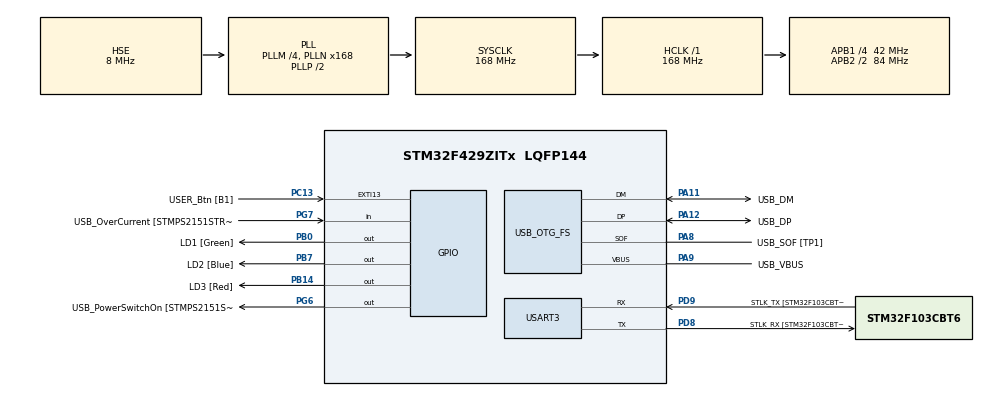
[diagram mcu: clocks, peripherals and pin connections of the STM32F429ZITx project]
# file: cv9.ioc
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Mcu.Family=STM32F4
Mcu.Name=STM32F429ZITx
Mcu.Package=LQFP144
NVIC.OTG_FS_IRQn=true\:0\:0\:false\:false\:true\:false\:true\:true
NVIC.PriorityGroup=NVIC_PRIORITYGROUP_4
PA1.GPIO_Label=RMII_REF_CLK [LAN8742A-CZ-TR_REFCLK0]
PA1.Signal=ETH_REF_CLK
PA10.GPIO_Label=USB_ID
PA10.Signal=USB_OTG_FS_ID
PA11.GPIO_Label=USB_DM
PA11.Mode=Device_Only
PA11.Signal=USB_OTG_FS_DM
PA12.GPIO_Label=USB_DP
PA12.Mode=Device_Only
PA12.Signal=USB_OTG_FS_DP
PA13.GPIO_Label=TMS
PA13.Mode=Serial_Wire
PA13.Signal=SYS_JTMS-SWDIO
PA14.GPIO_Label=TCK
PA14.Mode=Serial_Wire
PA14.Signal=SYS_JTCK-SWCLK
PA2.GPIO_Label=RMII_MDIO [LAN8742A-CZ-TR_MDIO]
PA2.Signal=ETH_MDIO
PA7.GPIO_Label=RMII_CRS_DV [LAN8742A-CZ-TR_CRS_DV]
PA7.Signal=ETH_CRS_DV
PA8.GPIO_Label=USB_SOF [TP1]
PA8.Mode=Activate_SOF_FS
PA8.Signal=USB_OTG_FS_SOF
PA9.GPIO_Label=USB_VBUS
PA9.Mode=Activate_VBUS
PA9.Signal=USB_OTG_FS_VBUS
PB0.GPIO_Label=LD1 [Green]
PB0.Signal=GPIO_Output
PB13.GPIO_Label=RMII_TXD1 [LAN8742A-CZ-TR_TXD1]
PB13.Signal=ETH_TXD1
PB14.GPIO_Label=LD3 [Red]
PB14.Signal=GPIO_Output
PB7.GPIO_Label=LD2 [Blue]
PB7.Signal=GPIO_Output
PC1.GPIO_Label=RMII_MDC [LAN8742A-CZ-TR_MDC]
PC1.Signal=ETH_MDC
PC13.GPIO_Label=USER_Btn [B1]
PC13.Signal=GPXTI13
PC14/OSC32_IN.Mode=LSE-External-Oscillator
PC14/OSC32_IN.Signal=RCC_OSC32_IN
PC15/OSC32_OUT.Mode=LSE-External-Oscillator
PC15/OSC32_OUT.Signal=RCC_OSC32_OUT
PC4.GPIO_Label=RMII_RXD0 [LAN8742A-CZ-TR_RXD0]
PC4.Signal=ETH_RXD0
PC5.GPIO_Label=RMII_RXD1 [LAN8742A-CZ-TR_RXD1]
PC5.Signal=ETH_RXD1
PD8.GPIO_Label=STLK_RX [STM32F103CBT6_PA3]
PD8.Mode=Asynchronous
PD8.Signal=USART3_TX
PD9.GPIO_Label=STLK_TX [STM32F103CBT6_PA2]
PD9.Mode=Asynchronous
PD9.Signal=USART3_RX
PG11.GPIO_Label=RMII_TX_EN [LAN8742A-CZ-TR_TXEN]
PG11.Signal=ETH_TX_EN
PG13.GPIO_Label=RMII_TXD0 [LAN8742A-CZ-TR_TXD0]
PG13.Signal=ETH_TXD0
PG6.GPIO_Label=USB_PowerSwitchOn [STMPS2151STR_EN]
PG6.Signal=GPIO_Output
PG7.GPIO_Label=USB_OverCurrent [STMPS2151STR_FAULT]
PG7.Signal=GPIO_Input
PH0/OSC_IN.GPIO_Label=MCO [STM32F103CBT6_PA8]
PH0/OSC_IN.Mode=HSE-External-Clock-Source
PH0/OSC_IN.Signal=RCC_OSC_IN
PH1/OSC_OUT.Mode=HSE-External-Clock-Source
PH1/OSC_OUT.Signal=RCC_OSC_OUT
ProjectManager.HeapSize=0x200
ProjectManager.StackSize=0x400
ProjectManager.TargetToolchain=STM32CubeIDE
RCC.48MHZClocksFreq_Value=48000000
RCC.AHBFreq_Value=168000000
RCC.APB1CLKDivider=RCC_HCLK_DIV4
RCC.APB1Freq_Value=42000000
RCC.APB1TimFreq_Value=84000000
RCC.APB2CLKDivider=RCC_HCLK_DIV2
RCC.APB2Freq_Value=84000000
RCC.APB2TimCLKDivider=2
RCC.APB2TimFreq_Value=168000000
RCC.CortexFreq_Value=168000000
RCC.HCLKFreq_Value=168000000
RCC.HSE_VALUE=8000000
RCC.HSI_VALUE=16000000
RCC.PLLM=4
RCC.PLLMUL=RCC_PLL_MUL9
RCC.PLLN=168
RCC.PLLQ=7
RCC.PRESCALERUSB=RCC_USBCLKSOURCE_PLL_DIV1_5
RCC.SYSCLKFreq_VALUE=168000000
RCC.SYSCLKSource=RCC_SYSCLKSOURCE_PLLCLK
RCC.SYSCLKSourceVirtual=RCC_SYSCLKSOURCE_PLLCLK
RCC.USBFreq_Value=48000000
RCC.VCOOutputFreq_Value=336000000
USART3.VirtualMode=VM_ASYNC
USB_DEVICE.CLASS_NAME_FS=HID
USB_DEVICE.VirtualMode-HID_FS=Hid
USB_DEVICE.VirtualModeFS=Hid_FS
USB_OTG_FS.VirtualMode=Device_Only
VP_USB_DEVICE_VS_USB_DEVICE_HID_FS.Mode=HID_FS
board=NUCLEO-F429ZI

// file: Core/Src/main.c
/* USER CODE BEGIN Header */
/**
 ******************************************************************************
 * @file           : main.c
 * @brief          : Main program body
 ******************************************************************************
 * @attention
 *
 * Copyright (c) 2024 STMicroelectronics.
 * All rights reserved.
 *
 * This software is licensed under terms that can be found in the LICENSE file
 * in the root directory of this software component.
 * If no LICENSE file comes with this software, it is provided AS-IS.
 *
 ******************************************************************************
 */
/* USER CODE END Header */
#include "main.h"
#include "usb_device.h"

/* USER CODE BEGIN Includes */
#include "usbd_hid.h"
#include "math.h"
/* USER CODE END Includes */

UART_HandleTypeDef huart3;

/* USER CODE BEGIN PV */
extern USBD_HandleTypeDef hUsbDeviceFS;
/* USER CODE END PV */

void SystemClock_Config(void);
static void MX_GPIO_Init(void);
static void MX_USART3_UART_Init(void);

/* USER CODE BEGIN 0 */
static void step(int8_t x, int8_t y, int8_t btn){
	uint8_t buff[4];
	buff[0] = btn;        // 1: left click, 2: right click, 0: none
	buff[1] = (int8_t)x;  // x coordinate
	buff[2] = (int8_t)y;  // y coordinate
	buff[3] = 0;          // wheel, 0: no scroll
	USBD_HID_SendReport(&hUsbDeviceFS, buff, sizeof(buff));
	HAL_Delay(USBD_HID_GetPollingInterval(&hUsbDeviceFS));
}

void circle(int8_t r)
{
	int8_t sx;
	int8_t sy;
	for (float phi = 0; phi < (2 * M_PI); phi = phi + 0.1)
	{
		float x = r * cosf(phi);
		float y = r * sinf(phi);

		int8_t dx = x - sx;
		int8_t dy = y - sy;

		step(dx, dy, 1);

		sx += dx;
		sy += dy;

	}
	step(0,0,0);
}

static void smile(int8_t r){
  for(int i = 90; i < 270; i++){
    step(r * cosf(i * M_PI / 180.0), r * sinf(i * M_PI / 180.0), 1);
  }
  step(0,0,0);
}

/* USER CODE END 0 */

int main(void)
{

	/* MCU Configuration--------------------------------------------------------*/

	/* Reset of all peripherals, Initializes the Flash interface and the Systick. */
	HAL_Init();

	/* Configure the system clock */
	SystemClock_Config();

	/* Initialize all configured peripherals */
	MX_GPIO_Init();
	MX_USART3_UART_Init();
	MX_USB_DEVICE_Init();

	/* Infinite loop */
	/* USER CODE BEGIN WHILE */
	while (1)
	{
		if(HAL_GPIO_ReadPin(USER_Btn_GPIO_Port, USER_Btn_Pin)){
			//HEAD
		      circle(150);
		      step(-50,50,0);
		      //RIGHT EYE
		      circle(20);
		      step(0,0,0);
		      step(-50,0,0);
		      //LEFT EYE
		      circle(20);
		      step(0,0,0);
		      //NOSE
		      step(-40,20,0);
		      step(0,0,1);
		      step(0,30,1);
		      //MOUTH
		      step(0,0,0);
		      step(35,-25,0);
		      smile(3);
		}
		/* USER CODE END WHILE */

	}
}

void SystemClock_Config(void)
{
	RCC_OscInitTypeDef RCC_OscInitStruct = {0};
	RCC_ClkInitTypeDef RCC_ClkInitStruct = {0};

	/** Configure the main internal regulator output voltage
	 */
	__HAL_RCC_PWR_CLK_ENABLE();
	__HAL_PWR_VOLTAGESCALING_CONFIG(PWR_REGULATOR_VOLTAGE_SCALE1);

	/** Initializes the RCC Oscillators according to the specified parameters
	 * in the RCC_OscInitTypeDef structure.
	 */
	RCC_OscInitStruct.OscillatorType = RCC_OSCILLATORTYPE_HSE;
	RCC_OscInitStruct.HSEState = RCC_HSE_BYPASS;
	RCC_OscInitStruct.PLL.PLLState = RCC_PLL_ON;
	RCC_OscInitStruct.PLL.PLLSource = RCC_PLLSOURCE_HSE;
	RCC_OscInitStruct.PLL.PLLM = 4;
	RCC_OscInitStruct.PLL.PLLN = 168;
	RCC_OscInitStruct.PLL.PLLP = RCC_PLLP_DIV2;
	RCC_OscInitStruct.PLL.PLLQ = 7;
	if (HAL_RCC_OscConfig(&RCC_OscInitStruct) != HAL_OK)
	{
		Error_Handler();
	}

	/** Initializes the CPU, AHB and APB buses clocks
	 */
	RCC_ClkInitStruct.ClockType = RCC_CLOCKTYPE_HCLK|RCC_CLOCKTYPE_SYSCLK
			|RCC_CLOCKTYPE_PCLK1|RCC_CLOCKTYPE_PCLK2;
	RCC_ClkInitStruct.SYSCLKSource = RCC_SYSCLKSOURCE_PLLCLK;
	RCC_ClkInitStruct.AHBCLKDivider = RCC_SYSCLK_DIV1;
	RCC_ClkInitStruct.APB1CLKDivider = RCC_HCLK_DIV4;
	RCC_ClkInitStruct.APB2CLKDivider = RCC_HCLK_DIV2;

	if (HAL_RCC_ClockConfig(&RCC_ClkInitStruct, FLASH_LATENCY_5) != HAL_OK)
	{
		Error_Handler();
	}
}

static void MX_USART3_UART_Init(void)
{

	huart3.Instance = USART3;
	huart3.Init.BaudRate = 115200;
	huart3.Init.WordLength = UART_WORDLENGTH_8B;
	huart3.Init.StopBits = UART_STOPBITS_1;
	huart3.Init.Parity = UART_PARITY_NONE;
	huart3.Init.Mode = UART_MODE_TX_RX;
	huart3.Init.HwFlowCtl = UART_HWCONTROL_NONE;
	huart3.Init.OverSampling = UART_OVERSAMPLING_16;
	if (HAL_UART_Init(&huart3) != HAL_OK)
	{
		Error_Handler();
	}

}

static void MX_GPIO_Init(void)
{
	GPIO_InitTypeDef GPIO_InitStruct = {0};

	/* GPIO Ports Clock Enable */
	__HAL_RCC_GPIOC_CLK_ENABLE();
	__HAL_RCC_GPIOH_CLK_ENABLE();
	__HAL_RCC_GPIOA_CLK_ENABLE();
	__HAL_RCC_GPIOB_CLK_ENABLE();
	__HAL_RCC_GPIOD_CLK_ENABLE();
	__HAL_RCC_GPIOG_CLK_ENABLE();

	/*Configure GPIO pin Output Level */
	HAL_GPIO_WritePin(GPIOB, LD1_Pin|LD3_Pin|LD2_Pin, GPIO_PIN_RESET);

	/*Configure GPIO pin Output Level */
	HAL_GPIO_WritePin(USB_PowerSwitchOn_GPIO_Port, USB_PowerSwitchOn_Pin, GPIO_PIN_RESET);

	/*Configure GPIO pin : USER_Btn_Pin */
	GPIO_InitStruct.Pin = USER_Btn_Pin;
	GPIO_InitStruct.Mode = GPIO_MODE_IT_RISING;
	GPIO_InitStruct.Pull = GPIO_NOPULL;
	HAL_GPIO_Init(USER_Btn_GPIO_Port, &GPIO_InitStruct);

	/*Configure GPIO pins : RMII_MDC_Pin RMII_RXD0_Pin RMII_RXD1_Pin */
	GPIO_InitStruct.Pin = RMII_MDC_Pin|RMII_RXD0_Pin|RMII_RXD1_Pin;
	GPIO_InitStruct.Mode = GPIO_MODE_AF_PP;
	GPIO_InitStruct.Pull = GPIO_NOPULL;
	GPIO_InitStruct.Speed = GPIO_SPEED_FREQ_VERY_HIGH;
	GPIO_InitStruct.Alternate = GPIO_AF11_ETH;
	HAL_GPIO_Init(GPIOC, &GPIO_InitStruct);

	/*Configure GPIO pins : RMII_REF_CLK_Pin RMII_MDIO_Pin RMII_CRS_DV_Pin */
	GPIO_InitStruct.Pin = RMII_REF_CLK_Pin|RMII_MDIO_Pin|RMII_CRS_DV_Pin;
	GPIO_InitStruct.Mode = GPIO_MODE_AF_PP;
	GPIO_InitStruct.Pull = GPIO_NOPULL;
	GPIO_InitStruct.Speed = GPIO_SPEED_FREQ_VERY_HIGH;
	GPIO_InitStruct.Alternate = GPIO_AF11_ETH;
	HAL_GPIO_Init(GPIOA, &GPIO_InitStruct);

	/*Configure GPIO pins : LD1_Pin LD3_Pin LD2_Pin */
	GPIO_InitStruct.Pin = LD1_Pin|LD3_Pin|LD2_Pin;
	GPIO_InitStruct.Mode = GPIO_MODE_OUTPUT_PP;
	GPIO_InitStruct.Pull = GPIO_NOPULL;
	GPIO_InitStruct.Speed = GPIO_SPEED_FREQ_LOW;
	HAL_GPIO_Init(GPIOB, &GPIO_InitStruct);

	/*Configure GPIO pin : RMII_TXD1_Pin */
	GPIO_InitStruct.Pin = RMII_TXD1_Pin;
	GPIO_InitStruct.Mode = GPIO_MODE_AF_PP;
	GPIO_InitStruct.Pull = GPIO_NOPULL;
	GPIO_InitStruct.Speed = GPIO_SPEED_FREQ_VERY_HIGH;
	GPIO_InitStruct.Alternate = GPIO_AF11_ETH;
	HAL_GPIO_Init(RMII_TXD1_GPIO_Port, &GPIO_InitStruct);

	/*Configure GPIO pin : USB_PowerSwitchOn_Pin */
	GPIO_InitStruct.Pin = USB_PowerSwitchOn_Pin;
	GPIO_InitStruct.Mode = GPIO_MODE_OUTPUT_PP;
	GPIO_InitStruct.Pull = GPIO_NOPULL;
	GPIO_InitStruct.Speed = GPIO_SPEED_FREQ_LOW;
	HAL_GPIO_Init(USB_PowerSwitchOn_GPIO_Port, &GPIO_InitStruct);

	/*Configure GPIO pin : USB_OverCurrent_Pin */
	GPIO_InitStruct.Pin = USB_OverCurrent_Pin;
	GPIO_InitStruct.Mode = GPIO_MODE_INPUT;
	GPIO_InitStruct.Pull = GPIO_NOPULL;
	HAL_GPIO_Init(USB_OverCurrent_GPIO_Port, &GPIO_InitStruct);

	/*Configure GPIO pins : RMII_TX_EN_Pin RMII_TXD0_Pin */
	GPIO_InitStruct.Pin = RMII_TX_EN_Pin|RMII_TXD0_Pin;
	GPIO_InitStruct.Mode = GPIO_MODE_AF_PP;
	GPIO_InitStruct.Pull = GPIO_NOPULL;
	GPIO_InitStruct.Speed = GPIO_SPEED_FREQ_VERY_HIGH;
	GPIO_InitStruct.Alternate = GPIO_AF11_ETH;
	HAL_GPIO_Init(GPIOG, &GPIO_InitStruct);

}

void Error_Handler(void)
{
	__disable_irq();
	while (1)
	{
	}
}
